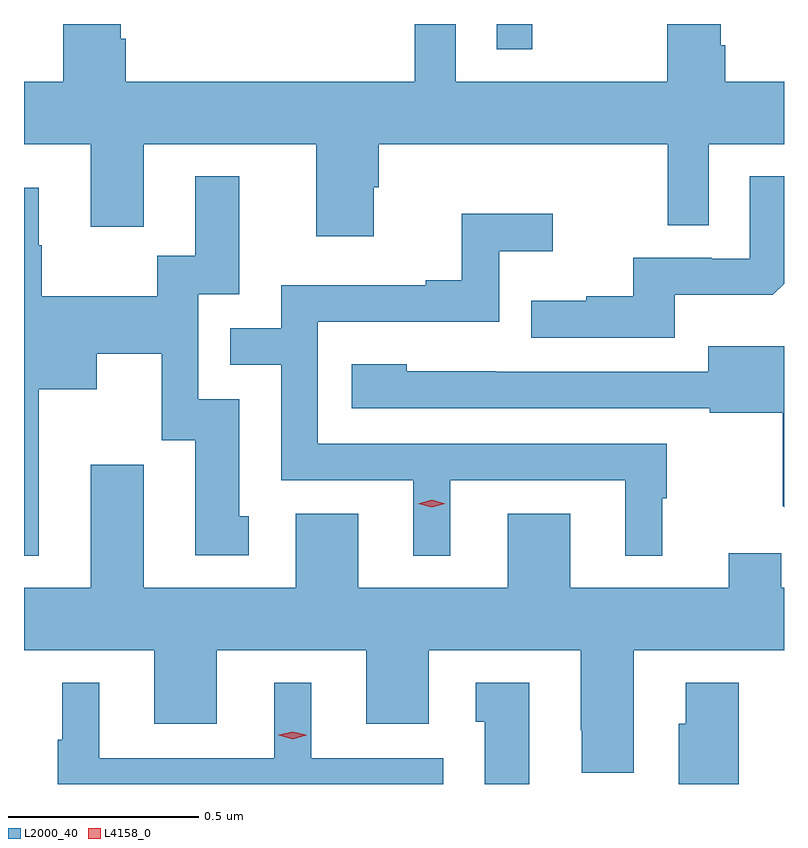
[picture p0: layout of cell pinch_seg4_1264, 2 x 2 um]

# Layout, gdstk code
import gdstk
lib = gdstk.Library(unit=1e-6, precision=1e-09)
def R(c, l, rs):  # rectangles x0, y0, x1, y1
    for r in rs: c.add(gdstk.rectangle(r[:2], r[2:], *l))
def P(c, l, *ps):  # polygons
    for p in ps: c.add(gdstk.Polygon(p, *l))
L2000_40 = (2000, 40)
L4158_0 = (4158, 0)

pinch_seg4_1264 = lib.new_cell('pinch_seg4_1264')
R(pinch_seg4_1264, L2000_40, [(145.02,819.713,145.113,819.78)])
P(pinch_seg4_1264, L2000_40, [(144.697,819.351),(144.71,819.351),(144.71,819.464),(145.47,819.464),(145.47,819.25),(145.578,819.25),(145.578,819.464),(145.776,819.464),(145.776,819.628),(145.622,819.628),(145.622,819.724),(145.609,819.724),(145.609,819.78),(145.469,819.78),(145.469,819.628),(144.912,819.628),(144.912,819.78),(144.804,819.78),(144.804,819.628),(144.044,819.628),(144.044,819.741),(144.031,819.741),(144.031,819.78),(143.879,819.78),(143.879,819.628),(143.776,819.628),(143.776,819.464),(143.951,819.464),(143.951,819.246),(144.091,819.246),(144.091,819.464),(144.545,819.464),(144.545,819.222),(144.697,819.222)],
  [(143.815,818.819),(143.968,818.819),(143.968,818.912),(144.138,818.912),(144.138,818.685),(144.227,818.685),(144.227,818.382),(144.367,818.382),(144.367,818.484),(144.343,818.484),(144.343,818.793),(144.234,818.793),(144.234,819.069),(144.343,819.069),(144.343,819.379),(144.227,819.379),(144.227,819.17),(144.126,819.17),(144.126,819.064),(143.823,819.064),(143.823,819.198),(143.815,819.198),(143.815,819.349),(143.776,819.349),(143.776,818.381),(143.815,818.381)],
  [(145.489,819.068),(145.747,819.068),(145.776,819.096),(145.776,819.379),(145.686,819.379),(145.686,819.162),(145.586,819.162),(145.586,819.165),(145.379,819.165),(145.379,819.064),(145.255,819.064),(145.255,819.052),(145.111,819.052),(145.111,818.955),(145.489,818.955)],
  [(144.898,818.58),(145.358,818.58),(145.358,818.381),(145.456,818.381),(145.456,818.532),(145.468,818.532),(145.468,818.676),(144.549,818.676),(144.549,818.997),(145.026,818.997),(145.026,819.182),(145.168,819.182),(145.168,819.281),(144.928,819.281),(144.928,819.106),(144.833,819.106),(144.833,819.093),(144.453,819.093),(144.453,818.979),(144.319,818.979),(144.319,818.883),(144.453,818.883),(144.453,818.58),(144.8,818.58),(144.8,818.381),(144.898,818.381)],
  [(145.776,818.932),(145.577,818.932),(145.577,818.865),(145.019,818.865),(145.019,818.866),(144.783,818.866),(144.783,818.884),(144.639,818.884),(144.639,818.769),(145.581,818.769),(145.581,818.757),(145.773,818.757),(145.773,818.511),(145.776,818.508)],
  [(145.381,818.132),(145.776,818.132),(145.776,818.296),(145.769,818.296),(145.769,818.387),(145.631,818.387),(145.631,818.296),(145.213,818.296),(145.213,818.491),(145.049,818.491),(145.049,818.296),(144.655,818.296),(144.655,818.491),(144.491,818.491),(144.491,818.296),(144.091,818.296),(144.091,818.62),(143.951,818.62),(143.951,818.296),(143.776,818.296),(143.776,818.132),(144.119,818.132),(144.119,817.938),(144.283,817.938),(144.283,818.132),(144.677,818.132),(144.677,817.938),(144.841,817.938),(144.841,818.132),(145.241,818.132),(145.241,817.921),(145.244,817.921),(145.244,817.809),(145.381,817.809)],
  [(144.879,817.848),(144.532,817.848),(144.532,818.047),(144.434,818.047),(144.434,817.848),(143.974,817.848),(143.974,818.047),(143.876,818.047),(143.876,817.896),(143.865,817.896),(143.865,817.78),(144.879,817.78)],
  [(145.105,818.047),(144.965,818.047),(144.965,817.944),(144.989,817.944),(144.989,817.78),(145.105,817.78)],
  [(145.657,818.047),(145.517,818.047),(145.517,817.938),(145.499,817.938),(145.499,817.78),(145.657,817.78)])
P(pinch_seg4_1264, L4158_0, [(144.849,818.508),(144.813,818.518),(144.813,818.518),(144.813,818.518),(144.849,818.528),(144.885,818.518),(144.885,818.518),(144.885,818.518)],
  [(144.483,817.898),(144.447,817.908),(144.447,817.908),(144.447,817.909),(144.483,817.918),(144.519,817.909),(144.519,817.908),(144.519,817.908)])

lib.write_gds('pinch_seg4_1264.gds')
